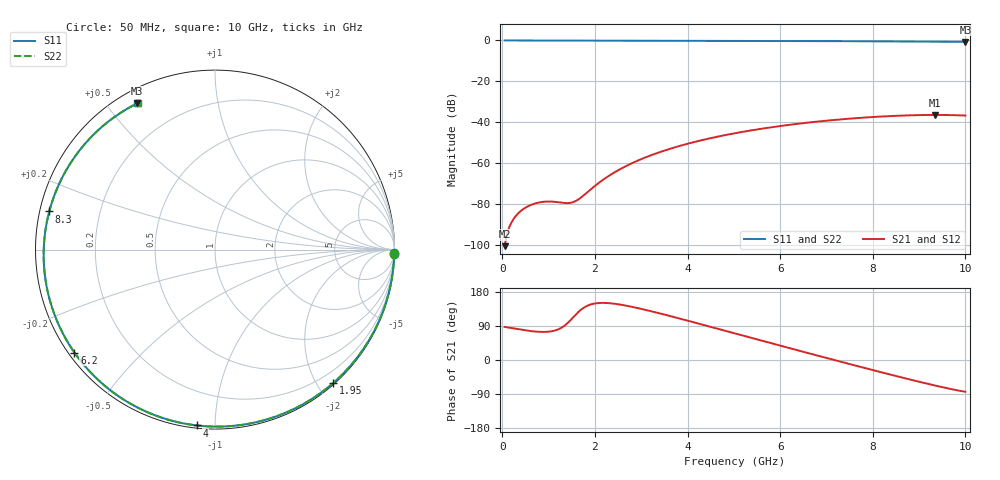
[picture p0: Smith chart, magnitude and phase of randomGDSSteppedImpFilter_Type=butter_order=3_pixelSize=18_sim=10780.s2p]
! freq	dB(S11)	phase(S11)	dB(S12)	phase(S12)
!  dB(S21)	phase(S21)	dB(S22)	phase(S22)
!S-par simulation data
#  GHz  S  DB  R 50
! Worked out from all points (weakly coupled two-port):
!   200 points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, 50 MHz to 10 GHz, reference 50 ohm
!   highest |S21| = -36.49 dB at 9.35 GHz (marker M1); lowest = -100.8 dB at 50 MHz (marker M2)
!   lowest |S11| = -0.7 dB at 10 GHz (marker M3), VSWR 24.87, Z = 2.73 + j30 ohm
!   |S11| at or under -10 dB: nowhere
!   |S22| runs from -0.7 to 0.0 dB; largest |S21 - S12| = 0
!   S11 on the Smith chart (normalised r, x): 50 MHz: 4, -92; 1.95 GHz: 0.02, -2.22; 4 GHz: 0.01, -0.90; 6.2 GHz: 0.02, -0.33; 8.3 GHz: 0.03, +0.11; 10 GHz: 0.05, +0.60
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0.05  -0.01 -1.2  -100.78 87.4  -100.78 87.4  -0.01 -1.3
0.75  -0.02 -19.0  -79.59 74.7  -79.59 74.7  -0.02 -19.0
1  -0.03 -25.2  -78.91 74.7  -78.91 74.7  -0.03 -25.2
1.45  -0.05 -36.3  -79.62 102.2  -79.62 102.2  -0.05 -36.3
1.6  -0.05 -40.0  -78.48 121.6  -78.48 121.6  -0.05 -40.0
1.75  -0.06 -43.7  -76.03 137.2  -76.03 137.2  -0.06 -43.7
1.95  -0.06 -48.5  -72.20 147.9  -72.20 147.9  -0.06 -48.5
2.25  -0.07 -55.7  -67.10 150.5  -67.10 150.5  -0.07 -55.7
2.6  -0.08 -63.9  -62.38 145.1  -62.38 145.1  -0.08 -64.0
2.95  -0.09 -72.1  -58.61 136.3  -58.61 136.3  -0.09 -72.1
3.4  -0.11 -82.4  -54.71 123.0  -54.71 123.0  -0.11 -82.4
4  -0.13 -95.8  -50.61 103.9  -50.61 103.9  -0.13 -95.8
4.5  -0.15 -106.8  -47.86 87.5  -47.86 87.5  -0.15 -106.9
5.05  -0.18 -118.8  -45.34 69.3  -45.34 69.3  -0.18 -118.8
6.2  -0.26 -143.8  -41.33 31.4  -41.33 31.4  -0.26 -143.9
6.7  -0.30 -154.9  -40.00 15.1  -40.00 15.1  -0.30 -154.9
7.55  -0.38 -174.4  -38.22 -12.3  -38.22 -12.3  -0.38 -174.5
8.3  -0.47 167.0  -37.13 -36.0  -37.13 -36.0  -0.47 166.9
8.35  -0.47 165.8  -37.08 -37.6  -37.08 -37.6  -0.47 165.6
8.85  -0.54 152.4  -36.65 -52.9  -36.65 -52.9  -0.54 152.3
9.35  -0.61 138.2  -36.49 -67.5  -36.49 -67.5  -0.61 138.0
10  -0.70 118.0  -36.78 -84.0  -36.78 -84.0  -0.70 117.8
